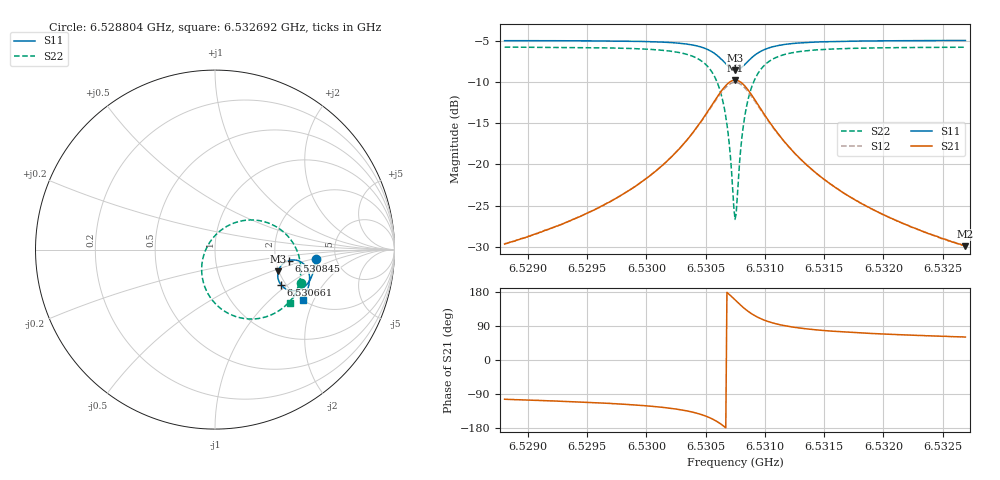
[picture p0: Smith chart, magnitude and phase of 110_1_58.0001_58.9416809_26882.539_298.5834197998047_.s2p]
#  HZ  S  RI  R  50.00
! Rohde & Schwarz Vector Network Analyzer
! Rohde-Schwarz,ZNB20-2Port,1311601062101988,3.16
! Created: UTC 3/21/2024, 12:55:10 AM
! freq[Hz]  re:S11  im:S11  re:S21  im:S21  re:S12  im:S12  re:S22  im:S22
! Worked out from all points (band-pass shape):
!   401 points, 6.528804 GHz to 6.532692 GHz, reference 50 ohm
!   highest |S21| = -9.78 dB at 6.530748 GHz (marker M1); lowest = -29.9 dB at 6.532692 GHz (marker M2)
!   |S21| within 3 dB of the highest: 6.530554 GHz to 6.530944 GHz (389.4 kHz wide, 0.00596 % of centre)
!   lowest |S11| = -8.6 dB at 6.530748 GHz (marker M3), VSWR 2.19, Z = 99.2 - j27.8 ohm
!   |S11| at or under -10 dB: nowhere
!   |S22| runs from -26.7 to -5.8 dB; largest |S21 - S12| = 0.013
!   S11 on the Smith chart (normalised r, x): 6.528804 GHz: 3.48, -0.56; 6.530661 GHz: 1.89, -0.89; 6.530845 GHz: 2.35, -0.35; 6.532692 GHz: 2.00, -1.66
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6.5288041e9  0.5606 -0.0546  -0.0077 -0.032  -0.0086 -0.0319  0.4805 -0.1839
6.5294553e9  0.5512 -0.1101  -0.0176 -0.0456  -0.0187 -0.0452  0.4483 -0.2463
6.529815e9  0.5407 -0.1448  -0.0301 -0.0596  -0.0318 -0.0588  0.4148 -0.2902
6.5301066e9  0.5239 -0.178  -0.053 -0.0786  -0.0552 -0.077  0.363 -0.3362
6.5303301e9  0.4966 -0.2084  -0.0948 -0.0994  -0.0978 -0.0959  0.2782 -0.3762
6.5304954e9  0.4512 -0.2285  -0.1666 -0.1069  -0.1693 -0.0997  0.1457 -0.3809
6.5305926e9  0.4038 -0.2232  -0.2404 -0.0797  -0.2394 -0.069  0.0223 -0.3205
6.5306606e9  0.3666 -0.1946  -0.2951 -0.0182  -0.2886 -0.00705  -0.0573 -0.2064
6.5306898e9  0.3549 -0.1732  -0.3096 0.0225  -0.3005 0.0322  -0.0733 -0.1361
6.5307287e9  0.3497 -0.1385  -0.3112 0.0857  -0.2996 0.0915  -0.0631 -0.0326
6.5307481e9  0.3524 -0.1206  -0.3025 0.1172  -0.2904 0.1211  -0.043 0.0176
6.5307578e9  0.3554 -0.1119  -0.296 0.1324  -0.2838 0.1352  -0.0291 0.0409
6.5307676e9  0.3591 -0.1035  -0.2879 0.1467  -0.2759 0.1485  -0.0131 0.0629
6.5308064e9  0.3814 -0.0763  -0.2446 0.1929  -0.2343 0.191  0.0664 0.13
6.5308453e9  0.4096 -0.0613  -0.1932 0.2176  -0.1857 0.2142  0.1557 0.1614
6.5309134e9  0.4553 -0.0596  -0.1137 0.2206  -0.1098 0.2172  0.2892 0.151
6.5310106e9  0.4957 -0.0813  -0.0448 0.1886  -0.0431 0.1867  0.4004 0.0806
6.5311564e9  0.5199 -0.1179  -0.00302 0.1397  -0.00154 0.1391  0.462 -0.0189
6.5313994e9  0.527 -0.1619  0.0153 0.0916  0.0163 0.0913  0.478 -0.1201
6.5316813e9  0.5225 -0.1971  0.0185 0.0634  0.0194 0.0631  0.4694 -0.1857
6.5320506e9  0.5119 -0.2329  0.018 0.0441  0.0188 0.0439  0.4512 -0.2389
6.5326922e9  0.4891 -0.283  0.0157 0.0278  0.0164 0.0276  0.4179 -0.299
